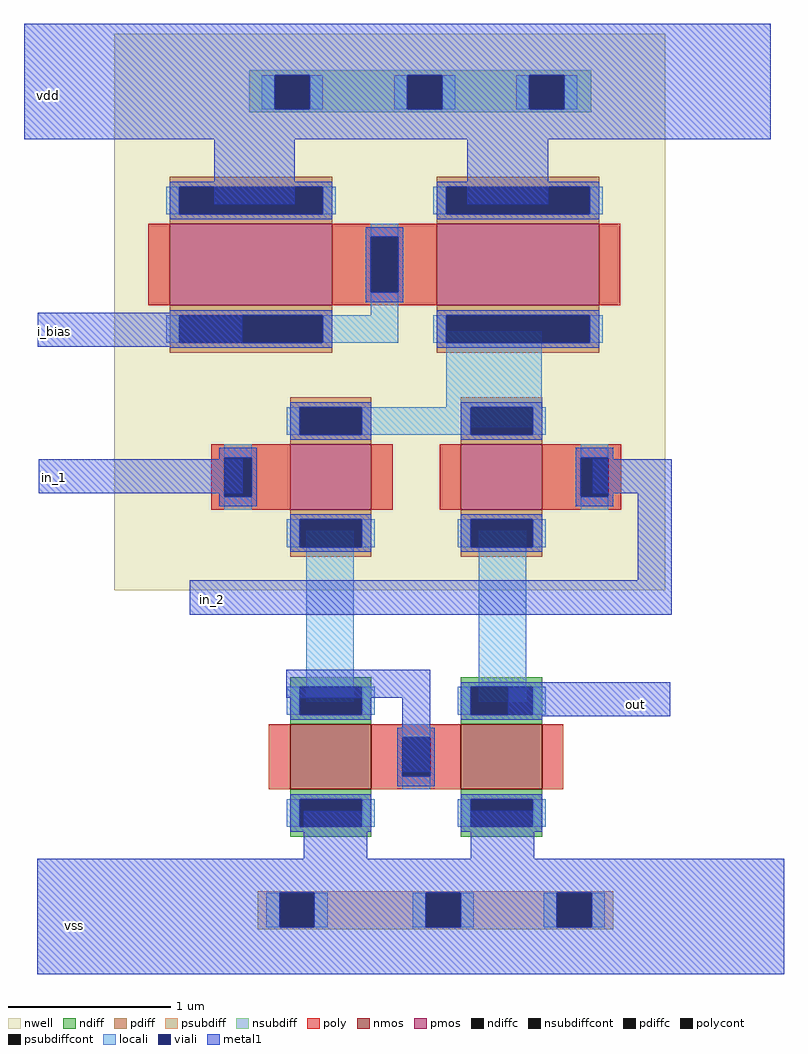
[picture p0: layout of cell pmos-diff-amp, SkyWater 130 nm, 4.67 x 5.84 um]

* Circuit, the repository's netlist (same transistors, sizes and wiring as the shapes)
* NGSPICE file created from pmos-diff-amp.ext - technology: sky130A

* Include SkyWater sky130 device models
.include "/home/mhasan13/pdk/skywater-pdk/libraries/sky130_fd_pr/latest/models/r+c/res_typical__cap_typical__lin.spice"
.include "/home/mhasan13/pdk/skywater-pdk/libraries/sky130_fd_pr/latest/models/r+c/res_typical__cap_typical.spice"
.include "/home/mhasan13/pdk/skywater-pdk/libraries/sky130_fd_pr/latest/models/corners/tt.spice"

* Vdd vdd gnd DC 0.7
* Vgnd vss gnd DC 0.0
* Ibias i_bias vss DC 1n
* Vref in_2 gnd DC 0.3
* Vin in_1 gnd DC 0.2 

Vdd vdd gnd DC 1.4
Vgnd vss gnd DC 0
Ibias i_bias vss DC 1n
Vshort in_2 out DC 0.0
Vin in_1 gnd DC PULSE(0 0.7 100p 0.5u 0.5u 5u 10u)

.subckt sky130_fd_pr__nfet_01v8_r0atdz VSUBS a_n40_n107# a_n98_n81# a_40_n81#
X0 a_40_n81# a_n40_n107# a_n98_n81# VSUBS sky130_fd_pr__nfet_01v8 w=500000u l=400000u
.ends

.subckt sky130_fd_pr__pfet_01v8_4pknhj VSUBS a_n98_n86# w_n134_n148# a_40_n86# a_n40_n112#
X0 a_40_n86# a_n40_n112# a_n98_n86# w_n134_n148# sky130_fd_pr__pfet_01v8 w=500000u l=400000u
.ends

.subckt sky130_fd_pr__pfet_01v8_4ujh9u VSUBS w_n144_n198# a_n50_n162# a_n108_n136#
+ a_50_n136#  
X0 a_50_n136# a_n50_n162# a_n108_n136# w_n144_n198# sky130_fd_pr__pfet_01v8 w=1e+06u l=500000u
.ends

.subckt pmos-diff-amp in_1 in_2 out i_bias vdd vss
Xsky130_fd_pr__nfet_01v8_r0atdz_0 vss m1_91_n137# m1_91_n137# vss sky130_fd_pr__nfet_01v8_r0atdz
Xsky130_fd_pr__nfet_01v8_r0atdz_1 vss m1_91_n137# vss out sky130_fd_pr__nfet_01v8_r0atdz
Xsky130_fd_pr__pfet_01v8_4pknhj_0 vss m1_91_n137# vdd li_184_186# in_1 sky130_fd_pr__pfet_01v8_4pknhj
Xsky130_fd_pr__pfet_01v8_4ujh9u_0 vss vdd i_bias li_184_186# vdd sky130_fd_pr__pfet_01v8_4ujh9u
Xsky130_fd_pr__pfet_01v8_4pknhj_1 vss li_184_186# vdd out in_2 sky130_fd_pr__pfet_01v8_4pknhj
Xsky130_fd_pr__pfet_01v8_4ujh9u_1 vss vdd i_bias vdd i_bias sky130_fd_pr__pfet_01v8_4ujh9u
.ends

*instantiate
Xdiff in_1 in_2 out i_bias vdd vss pmos-diff-amp

.control
* dc Vin 0 0.7 0.01
* plot v(in_2) v(in_1) v(out)

tran 100n 30u
plot v(in_1) v(out)
.endc
.end

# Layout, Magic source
magic
tech sky130A
magscale 1 2
<< nwell >>
rect -120 -5 557 679
<< psubdiff >>
rect 56 -377 493 -375
rect 56 -419 83 -377
rect 126 -419 263 -377
rect 306 -419 424 -377
rect 467 -419 493 -377
rect 56 -422 493 -419
<< nsubdiff >>
rect 46 628 466 634
rect 46 586 77 628
rect 120 586 240 628
rect 283 586 390 628
rect 433 586 466 628
rect 46 582 466 586
<< psubdiffcont >>
rect 83 -419 126 -377
rect 263 -419 306 -377
rect 424 -419 467 -377
<< nsubdiffcont >>
rect 77 586 120 628
rect 240 586 283 628
rect 390 586 433 628
<< locali >>
rect 61 586 77 628
rect 120 586 136 628
rect 224 586 240 628
rect 283 586 299 628
rect 374 586 390 628
rect 433 586 449 628
rect 195 333 229 361
rect 144 299 229 333
rect 288 220 405 313
rect 184 195 405 220
rect 184 186 315 195
rect 116 -142 174 68
rect 328 -142 386 68
rect 67 -419 83 -377
rect 126 -419 142 -377
rect 247 -419 263 -377
rect 306 -419 322 -377
rect 408 -419 424 -377
rect 467 -419 483 -377
<< viali >>
rect 77 586 120 628
rect 240 586 283 628
rect 390 586 433 628
rect 83 -419 126 -377
rect 263 -419 306 -377
rect 424 -419 467 -377
<< metal1 >>
rect -231 628 687 691
rect -231 586 77 628
rect 120 586 240 628
rect 283 586 390 628
rect 433 586 687 628
rect -231 549 687 586
rect 3 469 102 549
rect 314 469 413 549
rect -214 294 37 336
rect -213 114 38 156
rect 468 114 565 156
rect 523 7 565 114
rect -27 -35 565 7
rect 91 -137 268 -103
rect 234 -228 268 -137
rect 364 -160 563 -118
rect 113 -335 191 -277
rect 318 -335 396 -276
rect -215 -377 703 -335
rect -215 -419 83 -377
rect 126 -419 263 -377
rect 306 -419 424 -377
rect 467 -419 703 -377
rect -215 -477 703 -419
use sky130_fd_pr__pfet_01v8_4ujh9u  sky130_fd_pr__pfet_01v8_4ujh9u_1
transform 0 1 84 -1 0 395
box -144 -198 144 164
use sky130_fd_pr__pfet_01v8_4ujh9u  sky130_fd_pr__pfet_01v8_4ujh9u_0
transform 0 -1 340 1 0 395
box -144 -198 144 164
use sky130_fd_pr__nfet_01v8_r0atdz  sky130_fd_pr__nfet_01v8_r0atdz_0
transform 0 1 177 -1 0 -210
box -98 -107 98 107
use sky130_fd_pr__nfet_01v8_r0atdz  sky130_fd_pr__nfet_01v8_r0atdz_1
transform 0 -1 325 1 0 -210
box -98 -107 98 107
use sky130_fd_pr__pfet_01v8_4pknhj  sky130_fd_pr__pfet_01v8_4pknhj_0
transform 0 -1 110 1 0 134
box -134 -148 134 114
use sky130_fd_pr__pfet_01v8_4pknhj  sky130_fd_pr__pfet_01v8_4pknhj_1
transform 0 1 392 -1 0 134
box -134 -148 134 114
<< labels >>
flabel metal1 -200 128 -186 138 0 FreeSans 800 0 0 0 in_1
port 0 nsew
flabel metal1 -6 -22 8 -12 0 FreeSans 800 0 0 0 in_2
port 1 nsew
flabel metal1 514 -150 528 -140 0 FreeSans 800 0 0 0 out
port 2 nsew
flabel metal1 -200 308 -186 318 0 FreeSans 800 0 0 0 i_bias
port 3 nsew
flabel metal1 -208 598 -194 608 0 FreeSans 800 0 0 0 vdd
port 4 nsew
flabel metal1 -176 -422 -162 -412 0 FreeSans 800 0 0 0 vss
port 6 nsew
<< end >>

# cell sky130_fd_pr__pfet_01v8_4ujh9u: kit device sky130_fd_pr__pfet_01v8, w 1 l 0.5 m 1 nf 1 diffcov 100 polycov 100 guard 0 glc 0 grc 0 gtc 0 gbc 0 tbcov 100 rlcov 100 topc 1 botc 0 poverlap 0 doverlap 1 lmin 0.15 wmin 0.42 compatible {sky130_fd_pr__pfet_01v8 sky130_fd_pr__pfet_01v8_lvt sky130_fd_pr__pfet_01v8_hvt sky130_fd_pr__pfet_g5v0d10v5} full_metal 0 viagl 0 viagr 0 viagt 0 viagb 0 viagate 100 viadrn 100 viasrc 100

# cell sky130_fd_pr__nfet_01v8_r0atdz: kit device sky130_fd_pr__nfet_01v8, w 0.5 l 0.4 m 1 nf 1 diffcov 100 polycov 100 guard 0 glc 0 grc 0 gtc 0 gbc 0 tbcov 100 rlcov 100 topc 1 botc 0 poverlap 0 doverlap 1 lmin 0.15 wmin 0.42 compatible {sky130_fd_pr__nfet_01v8 sky130_fd_pr__nfet_01v8_lvt sky130_fd_bs_flash__special_sonosfet_star sky130_fd_pr__nfet_g5v0d10v5 sky130_fd_pr__nfet_05v0_nvt} full_metal 0 viasrc 100 viadrn 100 viagate 100 viagb 0 viagr 0 viagl 0 viagt 0

# cell sky130_fd_pr__pfet_01v8_4pknhj: kit device sky130_fd_pr__pfet_01v8, w 0.5 l 0.4 m 1 nf 1 diffcov 100 polycov 100 guard 0 glc 0 grc 0 gtc 0 gbc 0 tbcov 100 rlcov 100 topc 1 botc 0 poverlap 0 doverlap 1 lmin 0.15 wmin 0.42 compatible {sky130_fd_pr__pfet_01v8 sky130_fd_pr__pfet_01v8_lvt sky130_fd_pr__pfet_01v8_hvt sky130_fd_pr__pfet_g5v0d10v5} full_metal 0 viagl 0 viagr 0 viagt 0 viagb 0 viagate 100 viadrn 100 viasrc 100
